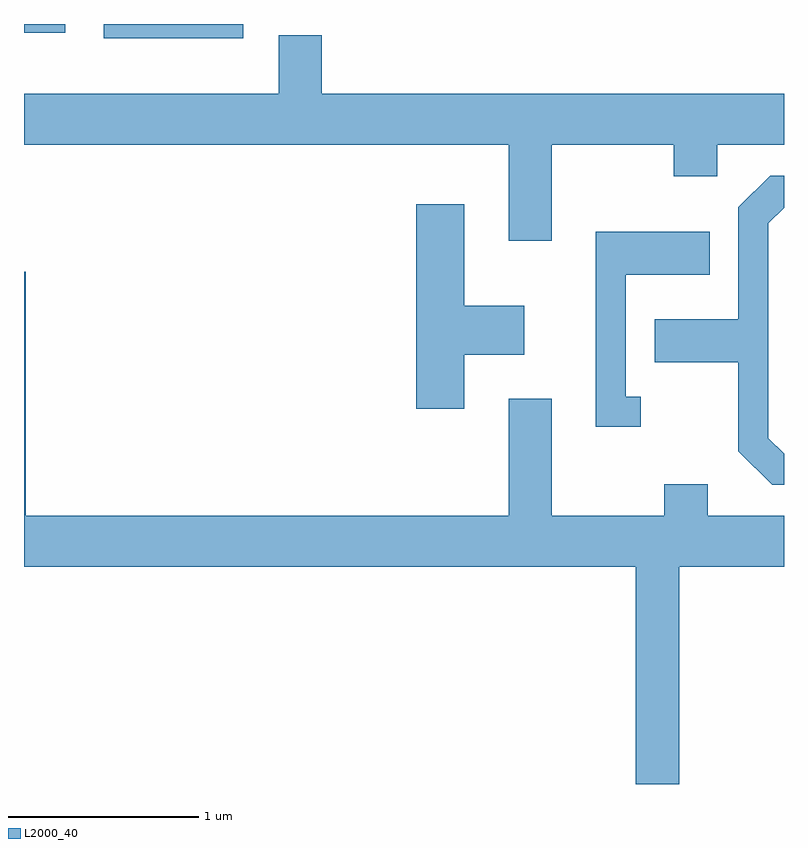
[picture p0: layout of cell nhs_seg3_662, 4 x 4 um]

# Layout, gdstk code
import gdstk
lib = gdstk.Library(unit=1e-6, precision=1e-09)
def R(c, l, rs):  # rectangles x0, y0, x1, y1
    for r in rs: c.add(gdstk.rectangle(r[:2], r[2:], *l))
def P(c, l, *ps):  # polygons
    for p in ps: c.add(gdstk.Polygon(p, *l))
L2000_40 = (2000, 40)

nhs_seg3_662 = lib.new_cell('nhs_seg3_662')
R(nhs_seg3_662, L2000_40, [(204.031,1219.816,204.764,1219.892), (203.611,1219.846,203.829,1219.892)])
P(nhs_seg3_662, L2000_40, [(206.389,1219.256),(207.031,1219.256),(207.031,1219.091),(207.259,1219.091),(207.259,1219.256),(207.611,1219.256),(207.611,1219.524),(205.179,1219.524),(205.179,1219.834),(204.951,1219.834),(204.951,1219.524),(203.611,1219.524),(203.611,1219.256),(206.161,1219.256),(206.161,1218.751),(206.389,1218.751)],
  [(207.611,1217.63),(207.529,1217.712),(207.529,1218.844),(207.611,1218.925),(207.611,1219.094),(207.539,1219.094),(207.371,1218.927),(207.371,1218.339),(206.931,1218.339),(206.931,1218.111),(207.371,1218.111),(207.371,1217.644),(207.549,1217.466),(207.611,1217.466)],
  [(205.929,1218.151),(206.244,1218.151),(206.244,1218.409),(205.929,1218.409),(205.929,1218.944),(205.676,1218.944),(205.676,1217.866),(205.929,1217.866)],
  [(206.858,1217.929),(206.779,1217.929),(206.779,1218.571),(207.219,1218.571),(207.219,1218.799),(206.621,1218.799),(206.621,1217.771),(206.858,1217.771)],
  [(207.059,1217.036),(207.611,1217.036),(207.611,1217.304),(207.209,1217.304),(207.209,1217.469),(206.981,1217.469),(206.981,1217.304),(206.389,1217.304),(206.389,1217.919),(206.161,1217.919),(206.161,1217.304),(203.619,1217.304),(203.619,1218.589),(203.611,1218.589),(203.611,1217.036),(206.831,1217.036),(206.831,1215.892),(207.059,1215.892)])

lib.write_gds('nhs_seg3_662.gds')
